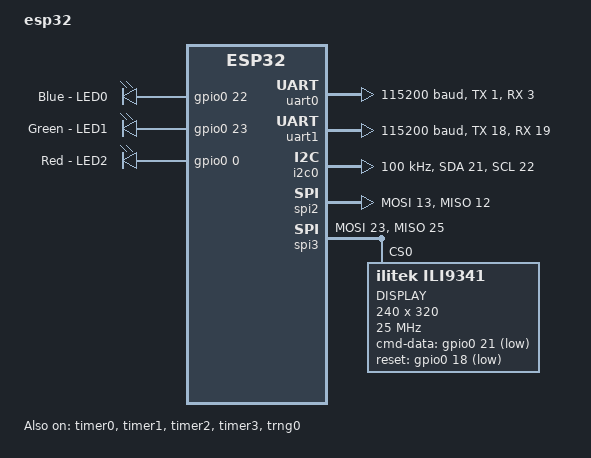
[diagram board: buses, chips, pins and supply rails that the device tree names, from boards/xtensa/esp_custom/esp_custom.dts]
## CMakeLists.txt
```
# SPDX-License-Identifier: Apache-2.0

cmake_minimum_required(VERSION 3.20.0)

set(BOARD_ROOT ${CMAKE_CURRENT_LIST_DIR})
find_package(Zephyr REQUIRED HINTS $ENV{ZEPHYR_BASE})
project(hello_world)


target_sources(app PRIVATE src/main.c)
```

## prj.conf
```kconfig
# 
CONFIG_SERIAL=n
CONFIG_GPIO=y
CONFIG_UART_INTERRUPT_DRIVEN=n
CONFIG_UART_CONSOLE=n
CONFIG_CONSOLE=n
CONFIG_RING_BUFFER=n
CONFIG_HEAP_MEM_POOL_SIZE=0
CONFIG_MAIN_STACK_SIZE=100
CONFIG_ESP_HEAP_MEM_POOL_REGION_1_SIZE=128
```

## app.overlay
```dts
#include <dt-bindings/gpio/gpio.h>
/ {
	leds {
		compatible = "gpio-leds";


		gp_led_1: ledgp1 {
			gpios =  <&gpio0 22 GPIO_ACTIVE_HIGH>;
			label = "Green - LED1";
		};
	};


	aliases {
		ledgp1 = &gp_led_1;
	};	

	
};



       
   
```

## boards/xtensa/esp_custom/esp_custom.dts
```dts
/*
 * Copyright (c) 2021 Espressif Systems (Shanghai) Co., Ltd.
 *
 * SPDX-License-Identifier: Apache-2.0
 */
/dts-v1/;

#include <espressif/esp32.dtsi>

/ {
	model = "esp32";
	compatible = "espressif,esp32";

	aliases {
		led0 = &blue_led;
		led1 = &green_led;
		led2 = &red_led;
		uart1 = &uart1;
		i2c-0 = &i2c0;
	};

	chosen {
		zephyr,sram = &sram0;
		zephyr,console = &uart0;
		zephyr,shell-uart = &uart0;
		zephyr,flash = &flash0;
		zephyr,display = &ili9341;
	};

	leds {
		compatible = "gpio-leds";

		blue_led: led_0 {
			gpios =  <&gpio0 22 GPIO_ACTIVE_HIGH>;
			label = "Blue - LED0";
		};

		green_led: led_1 {
			gpios =  <&gpio0 23 GPIO_ACTIVE_HIGH>;
			label = "Green - LED1";
		};

		red_led: led_2 {
			gpios =  <&gpio0 0 GPIO_ACTIVE_HIGH>;
			label = "Red - LED2";
		};
	};
};

&cpu0 {
	clock-frequency = <ESP32_CLK_CPU_240M>;
};

&cpu1 {
	clock-frequency = <ESP32_CLK_CPU_240M>;
};

&uart0 {
	status = "okay";
	current-speed = <115200>;
	tx-pin = <1>;
	rx-pin = <3>;
};


&uart1 {
	status = "okay";
	current-speed = <115200>;
	tx-pin = <18>;
	rx-pin = <19>;
};






&gpio0 {
	status = "okay";
};

&gpio1 {
	status = "okay";
};

&i2c0 {
	status = "okay";
	clock-frequency = <I2C_BITRATE_STANDARD>;
	sda-pin = <21>;
	scl-pin = <22>;
};

&spi2 {
	#address-cells = <1>;
	#size-cells = <0>;
	status = "okay";
	miso-pin = <12>;
	mosi-pin = <13>;
	sclk-pin = <14>;
	csel-pin = <15>;
};

&spi3 {
	#address-cells = <1>;
	#size-cells = <0>;
	status = "okay";
	miso-pin = <25>;
	mosi-pin = <23>;
	sclk-pin = <19>;
	csel-pin = <22>;

	ili9341: ili9341@0 {
		compatible = "ilitek,ili9341";
		label = "DISPLAY";
		spi-max-frequency = <25000000>;
		reg = <0>;
		cmd-data-gpios = <&gpio0 21 GPIO_ACTIVE_LOW>;
		reset-gpios = <&gpio0 18 GPIO_ACTIVE_LOW>;
		pixel-format = <0>;
		rotation = <0>;
		width = <240>;
		height = <320>;
	};
};

&timer0 {
	status = "okay";
};

&timer1 {
	status = "okay";
};

&timer2 {
	status = "okay";
};

&timer3 {
	status = "okay";
};

&trng0 {
	status = "okay";
};

&flash0 {
	status = "okay";
	partitions {
		compatible = "fixed-partitions";
		#address-cells = <1>;
		#size-cells = <1>;

		/* Reserve 60kB for the bootloader */
		boot_partition: partition@1000 {
			label = "mcuboot";
			reg = <0x00001000 0x0000F000>;
			read-only;
		};

		/* Reserve 1024kB for the application in slot 0 */
		slot0_partition: partition@10000 {
			label = "image-0";
			reg = <0x00010000 0x00100000>;
		};

		/* Reserve 1024kB for the application in slot 1 */
		slot1_partition: partition@110000 {
			label = "image-1";
			reg = <0x00110000 0x00100000>;
		};

		/* Reserve 256kB for the scratch partition */
		scratch_partition: partition@210000 {
			   label = "image-scratch";
			   reg = <0x00210000 0x00040000>;
		};

		storage_partition: partition@250000 {
			label = "storage";
			reg = <0x00250000 0x00006000>;
		};
	};
};
```

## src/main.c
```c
/**
 * @file main.c
 * @author Trevor heyl  https://github.com/TrevorHeyl/
 * @brief 
 * 	This demo shows howe to use UART transmit and receive interrupts.
 * 	The UART data is clocked in and out using ring buffers provided by Zephyr
 * 	A timer is used to trigger a work queue to parse the rceived data in the ring buffer
 * 	The demo is written for ESP32 and on UART1 but should work with most boards with a few mods
 * 		to the device tree (for LED and UART1)
 * 	A TX polle dmde is available by using #define UART_POLLED_TX_MODE
 * 
 * 	The following Kconfig is required:
 * 	CONFIG_SERIAL=y
 *	CONFIG_GPIO=y
 *	CONFIG_UART_INTERRUPT_DRIVEN=y
 *	CONFIG_RING_BUFFER=y
 * @version 0.1
 * @date 2022-08-09
 * 
 * @copyright M.I.T
 * 
 */

#include <string.h>
#include <stdio.h>
#include <zephyr.h>
#include <drivers/gpio.h>
#include <drivers/uart.h>
#include <sys/ring_buffer.h>



/* Get All node identifiers */
//#define LEDGR_NODE DT_ALIAS(ledgp1)	   // Get the node identifier for the ledgp1 from is alias

//static const struct gpio_dt_spec ledgr = GPIO_DT_SPEC_GET(LEDGR_NODE, gpios);

/* Queue to store up to 10 messages (aligned to 4-byte boundary) */
//#define MSG_SIZE 32
//K_MSGQ_DEFINE(uart_msgq, MSG_SIZE, 10, 4);



void main(void)
{
	int ret;

	// if (!device_is_ready(ledgr.port))
	// {
	// 	// do some failed thing
	// }

	// ret = gpio_pin_configure_dt(&ledgr, GPIO_OUTPUT_ACTIVE);
	// if (ret < 0)
	// {
	// 	// do some failed thing
	// }


	// gpio_pin_set_dt(&ledgr,0);


	/* Do nothing, everyting is handled in interrupts and timers */
	while (1)
	{
		//k_msleep(1000);
	}
}
```
